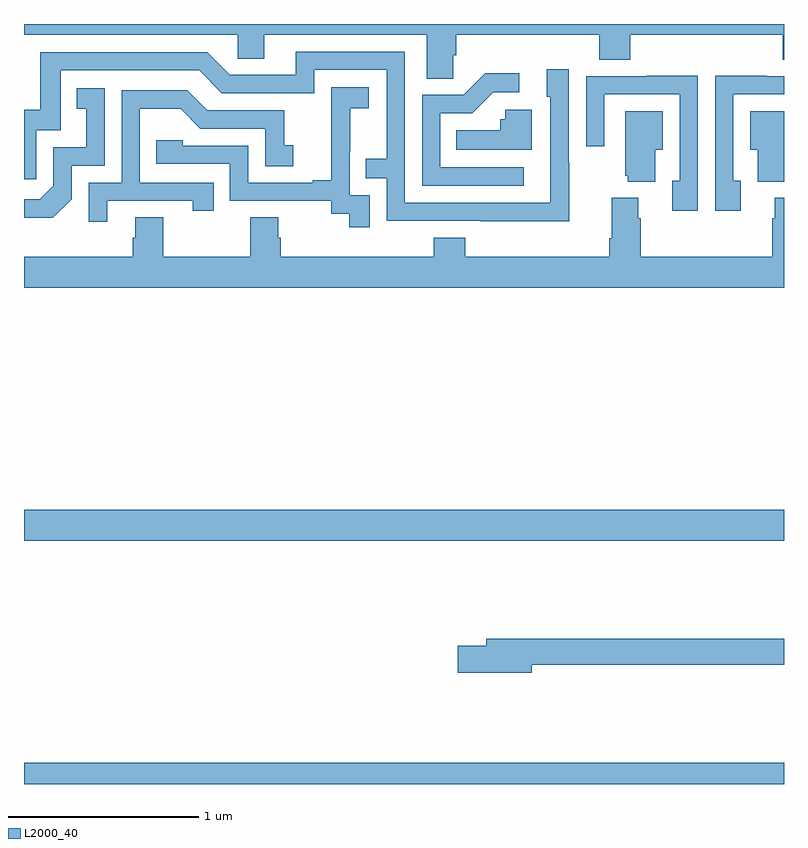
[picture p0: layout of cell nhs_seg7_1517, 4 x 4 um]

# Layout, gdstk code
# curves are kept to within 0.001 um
import gdstk
lib = gdstk.Library(unit=1e-6, precision=1e-09)
def R(c, l, rs):  # rectangles x0, y0, x1, y1
    for r in rs: c.add(gdstk.rectangle(r[:2], r[2:], *l))
def P(c, l, *ps):  # polygons
    for p in ps: c.add(gdstk.Polygon(p, *l))
L2000_40 = (2000, 40)

nhs_seg7_1517 = lib.new_cell('nhs_seg7_1517')
R(nhs_seg7_1517, L2000_40, [(215,1002,219,1002.112), (215,1003.28,219,1003.444)])
P(nhs_seg7_1517, L2000_40, [(217.26,1005.835),(217.274,1005.835),(217.274,1005.944),(218.027,1005.944),(218.027,1005.811),(218.192,1005.811),(218.192,1005.944),(218.993,1005.944),(218.993,1005.811),(219,1005.811),(219,1006),(215,1006),(215,1005.944),(216.126,1005.944),(216.126,1005.817),(216.265,1005.817),(216.265,1005.944),(217.121,1005.944),(217.121,1005.712),(217.26,1005.712)],
  [(217.869,1005.269),(217.866,1005.269),(217.866,1005.763),(217.751,1005.763),(217.751,1005.618),(217.77,1005.618),(217.769,1005.06),(217.005,1005.06),(217.005,1005.855),(216.431,1005.855),(216.431,1005.732),(216.084,1005.732),(215.964,1005.852),(215.085,1005.852),(215.085,1005.55),(215,1005.55),(215,1005.183),(215.064,1005.183),(215.064,1005.441),(215.193,1005.441),(215.193,1005.756),(215.922,1005.756),(216.042,1005.636),(216.528,1005.636),(216.528,1005.759),(216.909,1005.759),(216.909,1005.29),(216.799,1005.29),(216.799,1005.189),(216.909,1005.189),(216.909,1004.964),(217.869,1004.963)],
  [(217.63,1005.246),(217.191,1005.246),(217.191,1005.531),(217.36,1005.531),(217.471,1005.642),(217.606,1005.642),(217.606,1005.74),(217.427,1005.74),(217.314,1005.627),(217.095,1005.627),(217.095,1005.15),(217.63,1005.15)],
  [(218.547,1005.728),(218.275,1005.728),(218.275,1005.726),(217.959,1005.726),(217.959,1005.357),(218.055,1005.357),(218.055,1005.63),(218.451,1005.63),(218.451,1005.174),(218.411,1005.174),(218.411,1005.018),(218.547,1005.018)],
  [(218.773,1005.174),(218.733,1005.174),(218.733,1005.63),(219,1005.63),(219,1005.726),(218.909,1005.726),(218.909,1005.728),(218.637,1005.728),(218.637,1005.018),(218.773,1005.018)],
  [(216.819,1005.099),(216.714,1005.099),(216.714,1005.329),(216.716,1005.329),(216.716,1005.557),(216.814,1005.557),(216.814,1005.667),(216.616,1005.667),(216.616,1005.461),(216.617,1005.461),(216.617,1005.178),(216.521,1005.178),(216.521,1005.165),(216.18,1005.165),(216.18,1005.36),(215.835,1005.36),(215.835,1005.387),(215.695,1005.387),(215.695,1005.264),(216.084,1005.264),(216.084,1005.069),(216.618,1005.069),(216.618,1005.001),(216.711,1005.001),(216.711,1004.931),(216.819,1004.931)],
  [(215.25,1005.078),(215.25,1005.255),(215.424,1005.255),(215.424,1005.661),(215.278,1005.661),(215.278,1005.555),(215.327,1005.555),(215.327,1005.351),(215.154,1005.351),(215.154,1005.15),(215.082,1005.078),(215,1005.078),(215,1004.981),(215.152,1004.981)],
  [(215.437,1005.069),(215.888,1005.069),(215.888,1005.018),(215.999,1005.018),(215.999,1005.165),(215.61,1005.165),(215.61,1005.554),(215.824,1005.554),(215.928,1005.45),(216.27,1005.45),(216.27,1005.252),(216.418,1005.252),(216.418,1005.361),(216.369,1005.361),(216.369,1005.546),(215.965,1005.546),(215.86,1005.651),(215.514,1005.651),(215.514,1005.165),(215.34,1005.165),(215.34,1004.958),(215.437,1004.958)],
  [(217.672,1005.55),(217.533,1005.55),(217.533,1005.498),(217.507,1005.498),(217.507,1005.442),(217.276,1005.442),(217.276,1005.338),(217.672,1005.338)],
  [(218.323,1005.338),(218.362,1005.338),(218.362,1005.541),(218.165,1005.541),(218.165,1005.201),(218.177,1005.201),(218.177,1005.17),(218.323,1005.17)],
  [(219,1005.541),(218.822,1005.541),(218.822,1005.338),(218.861,1005.338),(218.861,1005.17),(219,1005.17)],
  [(217.157,1004.875),(217.157,1004.776),(216.35,1004.776),(216.35,1004.874),(216.337,1004.874),(216.337,1004.984),(216.19,1004.984),(216.19,1004.776),(215.733,1004.776),(215.733,1004.984),(215.585,1004.984),(215.585,1004.874),(215.573,1004.874),(215.573,1004.776),(215,1004.776),(215,1004.612),(219,1004.612),(219,1005.085),(218.951,1005.085),(218.951,1004.978),(218.939,1004.978),(218.939,1004.776),(218.246,1004.776),(218.246,1004.978),(218.233,1004.978),(218.233,1005.085),(218.093,1005.085),(218.093,1004.872),(218.081,1004.872),(218.081,1004.776),(217.322,1004.776),(217.322,1004.875)],
  [(217.672,1002.628),(219,1002.628),(219,1002.764),(217.433,1002.764),(217.433,1002.728),(217.284,1002.728),(217.284,1002.586),(217.672,1002.586)])

lib.write_gds('nhs_seg7_1517.gds')
